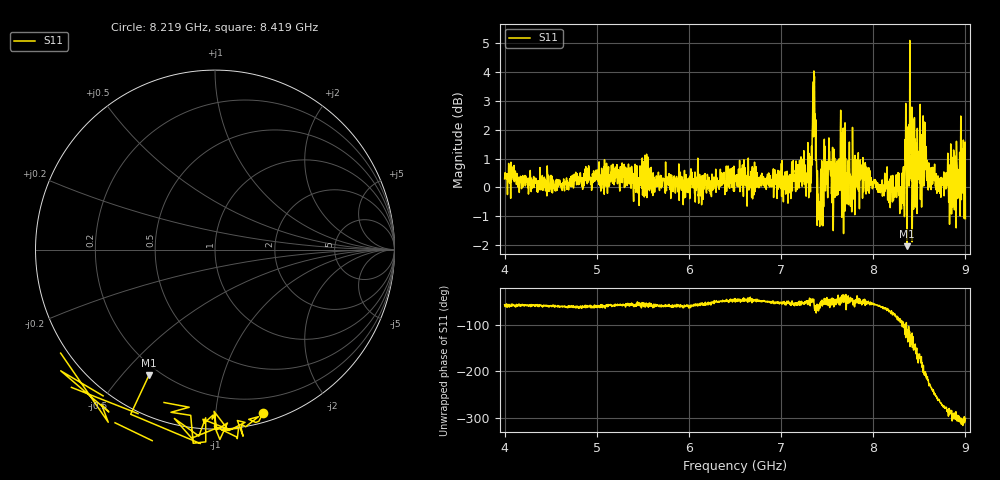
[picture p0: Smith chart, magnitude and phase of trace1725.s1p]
! Created with skrf 1.8.0 (http://scikit-rf.org).
# Hz S RI R 50.0
!freq ReS11 ImS11
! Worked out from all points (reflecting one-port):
!   1601 points, 4 GHz to 9 GHz, reference 50 ohm
!   lowest |S11| = -2.0 dB at 8.366 GHz (marker M1), VSWR 8.58, Z = 7.92 - j29.7 ohm
!   phase of S11 starts at -56 deg and turns -246 deg over the sweep
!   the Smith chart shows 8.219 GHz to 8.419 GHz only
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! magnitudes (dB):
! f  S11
! 4 GHz  0.3
! 4.625 GHz  -0.1
! 5.25 GHz  -0.1
! 5.875 GHz  0.1
! 6.5 GHz  0.2
! 7.125 GHz  0.9
! 7.303 GHz  0.6
! 7.356 GHz  4.0
! 7.369 GHz  2.5
! 7.4 GHz  -0.5
! 7.412 GHz  -0.8
! 7.503 GHz  -0.1
! 7.591 GHz  0.8
! 7.669 GHz  0.4
! 7.703 GHz  0.1
! 7.75 GHz  0.5
! 7.891 GHz  0.3
! 8.316 GHz  -0.3
! 8.366 GHz  -2.0
! 8.375 GHz  0.9
! 8.447 GHz  2.4
! 8.459 GHz  -0.7
! 8.553 GHz  0.1
! 8.603 GHz  0.8
! 8.712 GHz  0.3
! 8.875 GHz  1.2
! 8.972 GHz  0.4
! 9 GHz  -1.1
